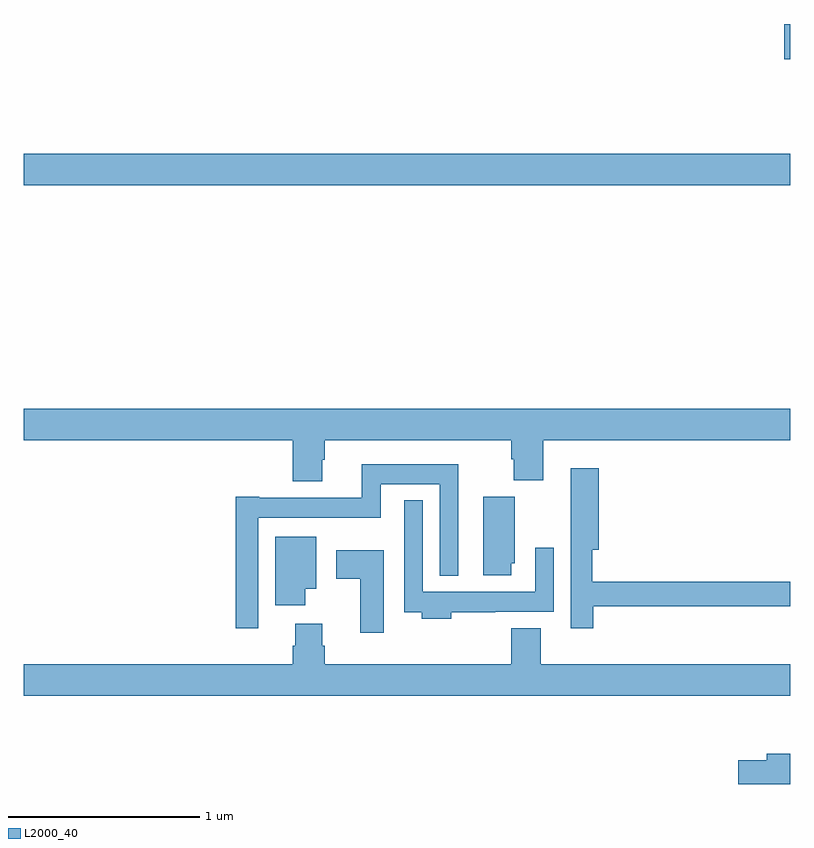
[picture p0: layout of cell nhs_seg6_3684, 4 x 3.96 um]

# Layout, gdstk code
import gdstk
lib = gdstk.Library(unit=1e-6, precision=1e-09)
def R(c, l, rs):  # rectangles x0, y0, x1, y1
    for r in rs: c.add(gdstk.rectangle(r[:2], r[2:], *l))
def P(c, l, *ps):  # polygons
    for p in ps: c.add(gdstk.Polygon(p, *l))
L2000_40 = (2000, 40)

nhs_seg6_3684 = lib.new_cell('nhs_seg6_3684')
R(nhs_seg6_3684, L2000_40, [(325,992.624,329,992.788), (328.968,993.281,329,993.464)])
P(nhs_seg6_3684, L2000_40, [(326.557,991.191),(326.57,991.191),(326.57,991.292),(327.545,991.292),(327.545,991.193),(327.557,991.193),(327.557,991.084),(327.71,991.084),(327.71,991.292),(329,991.292),(329,991.456),(325,991.456),(325,991.292),(326.405,991.292),(326.405,991.079),(326.557,991.079)],
  [(326.223,990.89),(326.862,990.89),(326.862,991.064),(327.171,991.064),(327.171,990.587),(327.268,990.587),(327.268,991.168),(326.765,991.168),(326.765,990.994),(326.23,990.994),(326.23,990.997),(326.107,990.997),(326.107,990.312),(326.223,990.312)],
  [(327.971,990.426),(329,990.426),(329,990.554),(327.967,990.554),(327.967,990.722),(328.001,990.722),(328.001,991.147),(327.854,991.147),(327.854,990.826),(327.855,990.826),(327.855,990.312),(327.971,990.312)],
  [(327.544,990.651),(327.562,990.651),(327.562,990.999),(327.398,990.999),(327.398,990.588),(327.544,990.588)],
  [(327.23,990.396),(327.461,990.396),(327.461,990.398),(327.765,990.398),(327.765,990.733),(327.669,990.733),(327.669,990.502),(327.081,990.502),(327.081,990.979),(326.985,990.979),(326.985,990.396),(327.077,990.396),(327.077,990.362),(327.23,990.362)],
  [(326.47,990.518),(326.527,990.518),(326.527,990.79),(326.312,990.79),(326.312,990.432),(326.47,990.432)],
  [(326.878,990.718),(326.631,990.718),(326.631,990.571),(326.756,990.571),(326.756,990.288),(326.878,990.288)],
  [(329,990.124),(327.697,990.124),(327.697,990.313),(327.545,990.313),(327.545,990.124),(326.57,990.124),(326.57,990.222),(326.557,990.222),(326.557,990.337),(326.417,990.337),(326.417,990.222),(326.405,990.222),(326.405,990.124),(325,990.124),(325,989.96),(329,989.96)],
  [(329,989.659),(328.877,989.659),(328.877,989.625),(328.728,989.625),(328.728,989.5),(329,989.5)])

lib.write_gds('nhs_seg6_3684.gds')
